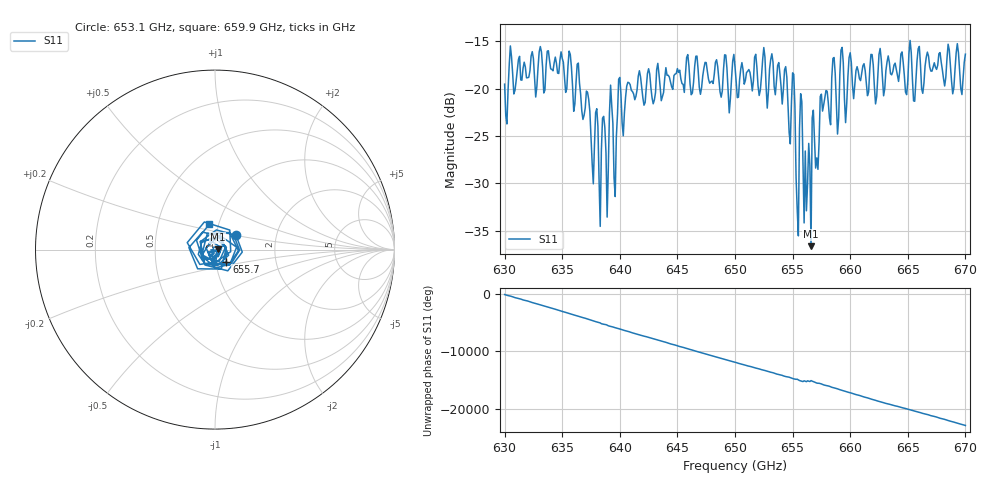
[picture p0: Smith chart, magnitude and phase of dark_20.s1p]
!Created with skrf (http://scikit-rf.org).
# GHz S RI R 50.0
!freq ReS11 ImS11
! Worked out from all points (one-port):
!   401 points, 630 GHz to 670 GHz, reference 50 ohm
!   lowest |S11| = -36.7 dB at 656.6 GHz (marker M1), VSWR 1.03, Z = 51.5 + j0.23 ohm
!   |S11| at or under -10 dB: start of sweep to end of sweep
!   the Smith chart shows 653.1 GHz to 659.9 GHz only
!   S11 on the Smith chart (normalised r, x): 653.1 GHz: 1.24, +0.21; 655.7 GHz: 1.12, -0.16; 659.9 GHz: 0.90, +0.26
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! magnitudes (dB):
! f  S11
! 630 GHz  -19.5
! 630.5 GHz  -15.5
! 635 GHz  -16.8
! 637.2 GHz  -20.4
! 637.6 GHz  -27.9
! 638.3 GHz  -34.6
! 638.6 GHz  -22.9
! 638.9 GHz  -33.6
! 639.2 GHz  -19.6
! 639.6 GHz  -31.4
! 640 GHz  -18.8
! 645 GHz  -17.9
! 650 GHz  -17.7
! 653.1 GHz  -16.9
! 655 GHz  -18.3
! 655.4 GHz  -32.8
! 655.7 GHz  -20.6
! 656.1 GHz  -26.6
! 656.4 GHz  -25.8
! 656.6 GHz  -36.7
! 658.6 GHz  -16.7
! 658.9 GHz  -24.8
! 659.3 GHz  -15.7
! 659.6 GHz  -23.6
! 659.9 GHz  -16.8
! 660 GHz  -16.2
! 665 GHz  -19.2
! 670 GHz  -16.4
